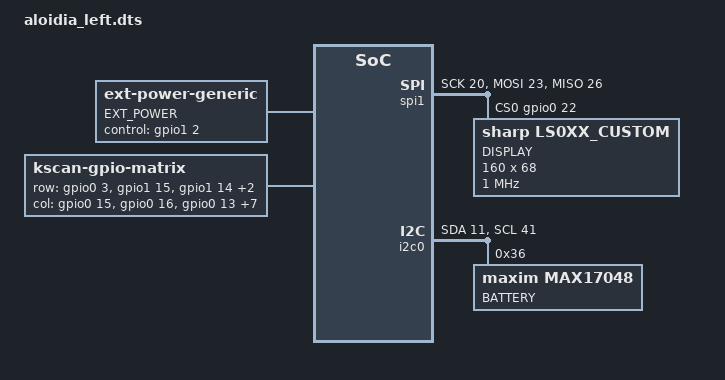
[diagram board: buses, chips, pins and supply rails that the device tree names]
/*
*
* Copyright (c) 2023 Vincent Nguyen
* SPDX-License-Identifier: MIT
*
*/

#include "aloidia.dtsi"

/{
    ext-power {
            compatible = "zmk,ext-power-generic";
            label = "EXT_POWER";
            control-gpios = <&gpio1 2 GPIO_ACTIVE_HIGH>;
            init-delay-ms = <50>;
        };
};

&spi1  {
	status = "okay";
	compatible = "nordic,nrf-spim";
	sck-pin = <20>;
	mosi-pin = <23>;
	miso-pin = <26>; // unused
	cs-gpios = <&gpio0 22 GPIO_ACTIVE_HIGH>;

	memory_display: ls0xx_custom@0 {
		compatible = "sharp,ls0xx_custom";
		label = "DISPLAY";
		spi-max-frequency = <1000000>;
		reg = <0>;
		width = <160>;
		height = <68>;
	};
};

&i2c0 {
	status = "okay";
	sda-pin = <11>;
	scl-pin = <41>;

	fuel_gauge: max17048@36 {
		compatible = "maxim,max17048";
		status = "okay";
		label = "BATTERY";
		reg = <0x36>;
	};
};

/ {
    chosen {
        zmk,battery = &fuel_gauge;
        zephyr,display = &memory_display;
    };
};

/{
    kscan0: kscan {
            compatible = "zmk,kscan-gpio-matrix";
            label = "KSCAN";

            diode-direction = "row2col";

            row-gpios
                = <&gpio0 3  GPIO_ACTIVE_HIGH>
                , <&gpio1 15 GPIO_ACTIVE_HIGH>
                , <&gpio1 14 GPIO_ACTIVE_HIGH>
                , <&gpio1 13 GPIO_ACTIVE_HIGH>
                , <&gpio1 12 GPIO_ACTIVE_HIGH>
                ;
            col-gpios
                = <&gpio0 15 (GPIO_ACTIVE_HIGH | GPIO_PULL_DOWN)>
                , <&gpio0 16 (GPIO_ACTIVE_HIGH | GPIO_PULL_DOWN)>
                , <&gpio0 13 (GPIO_ACTIVE_HIGH | GPIO_PULL_DOWN)>
                , <&gpio0 14 (GPIO_ACTIVE_HIGH | GPIO_PULL_DOWN)>
                , <&gpio0 28 (GPIO_ACTIVE_HIGH | GPIO_PULL_DOWN)>
                , <&gpio0 30 (GPIO_ACTIVE_HIGH | GPIO_PULL_DOWN)>
                , <&gpio0 31 (GPIO_ACTIVE_HIGH | GPIO_PULL_DOWN)>
                , <&gpio0 2  (GPIO_ACTIVE_HIGH | GPIO_PULL_DOWN)>
                , <&gpio0 29 (GPIO_ACTIVE_HIGH | GPIO_PULL_DOWN)>
                , <&gpio1 11 (GPIO_ACTIVE_HIGH | GPIO_PULL_DOWN)>
                ;
    };


    left_encoder_ec11: encoder_left_ec11 {
        a-gpios = <&gpio0 24 (GPIO_ACTIVE_HIGH | GPIO_PULL_UP)>;
        b-gpios = <&gpio0 25 (GPIO_ACTIVE_HIGH | GPIO_PULL_UP)>;
    };

    left_encoder_evq: encoder_left_evq {
        a-gpios = <&gpio0 8 (GPIO_ACTIVE_HIGH | GPIO_PULL_UP)>;
        b-gpios = <&gpio0 6 (GPIO_ACTIVE_HIGH | GPIO_PULL_UP)>;
    };
    right_encoder_ec11: encoder_right_ec11 {
        a-gpios = <&gpio1 3 (GPIO_ACTIVE_HIGH | GPIO_PULL_UP)>;
        b-gpios = <&gpio1 4 (GPIO_ACTIVE_HIGH | GPIO_PULL_UP)>;
    };

    right_encoder_evq: encoder_right_evq {
        a-gpios = <&gpio1 3 (GPIO_ACTIVE_HIGH | GPIO_PULL_UP)>;
        b-gpios = <&gpio1 4 (GPIO_ACTIVE_HIGH | GPIO_PULL_UP)>;
    };
};   


